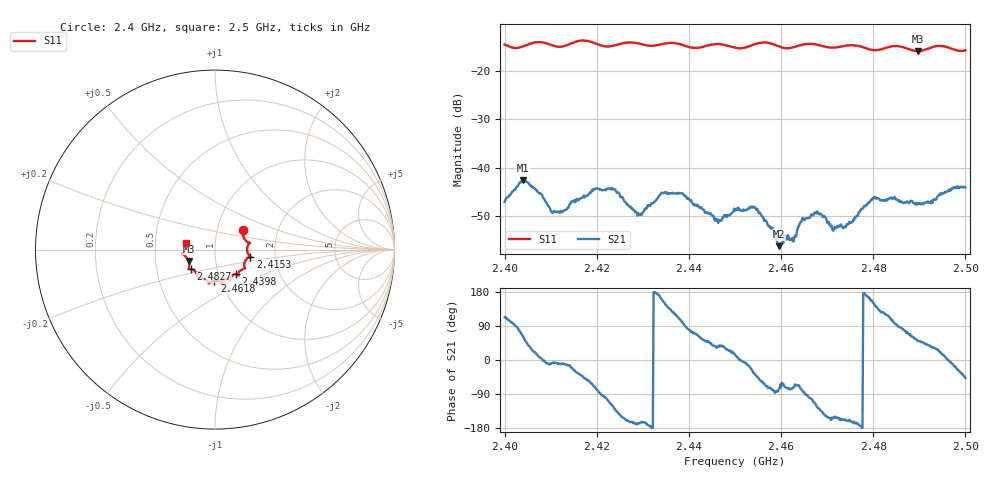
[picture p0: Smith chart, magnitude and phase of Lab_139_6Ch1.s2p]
# Hz S RI R 50
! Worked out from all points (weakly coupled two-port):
!   601 points, 2.4 GHz to 2.5 GHz, reference 50 ohm
!   highest |S21| = -42.64 dB at 2.404 GHz (marker M1); lowest = -56.3 dB at 2.4595 GHz (marker M2)
!   lowest |S11| = -15.9 dB at 2.4897 GHz (marker M3), VSWR 1.38, Z = 36.9 - j4.84 ohm
!   |S11| at or under -10 dB: start of sweep to end of sweep
!   S12 and S22 are empty: the file has one direction only
!   S11 on the Smith chart (normalised r, x): 2.4 GHz: 1.33, +0.29; 2.4153 GHz: 1.48, -0.12; 2.4398 GHz: 1.21, -0.34; 2.4618 GHz: 0.94, -0.33; 2.4827 GHz: 0.75, -0.17; 2.5 GHz: 0.72, +0.06
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2.4e9  0.1551 0.1065  -0.00172 0.00405  0 0  0 0
2.404e9  0.1738 0.0472  0.00342 0.00654  0 0  0 0
2.4105e9  0.1827 0.0213  0.00337 -0.000419  0 0  0 0
2.415333e9  0.1969 -0.0391  0.0038 -0.00216  0 0  0 0
2.416667e9  0.2026 -0.0431  0.00365 -0.00316  0 0  0 0
2.4235e9  0.1627 -0.0825  -0.00313 -0.00503  0 0  0 0
2.429333e9  0.1591 -0.1074  -0.00315 -0.000719  0 0  0 0
2.433333e9  0.1297 -0.134  -0.00485 0.000602  0 0  0 0
2.439833e9  0.1153 -0.1359  0.00077 0.00474  0 0  0 0
2.446167e9  0.0845 -0.1704  0.0023 0.00158  0 0  0 0
2.45e9  0.0652 -0.162  0.00347 0.000861  0 0  0 0
2.4545e9  0.0357 -0.1874  0.00288 -0.00244  0 0  0 0
2.4595e9  0.0264 -0.1781  0.000336 -0.00149  0 0  0 0
2.461833e9  -0.00327 -0.1729  0.000392 -0.00173  0 0  0 0
2.466667e9  -0.0347 -0.1881  -0.000747 -0.00318  0 0  0 0
2.471333e9  -0.0624 -0.163  -0.00196 -0.00104  0 0  0 0
2.473667e9  -0.0862 -0.1602  -0.00225 -0.000906  0 0  0 0
2.48e9  -0.1097 -0.1231  -0.00411 0.00232  0 0  0 0
2.482667e9  -0.1349 -0.1089  -0.00227 0.00389  0 0  0 0
2.483333e9  -0.14 -0.1085  -0.00197 0.00425  0 0  0 0
2.489667e9  -0.147 -0.0639  0.00274 0.00327  0 0  0 0
2.5e9  -0.1596 0.039  0.00419 -0.00458  0 0  0 0
